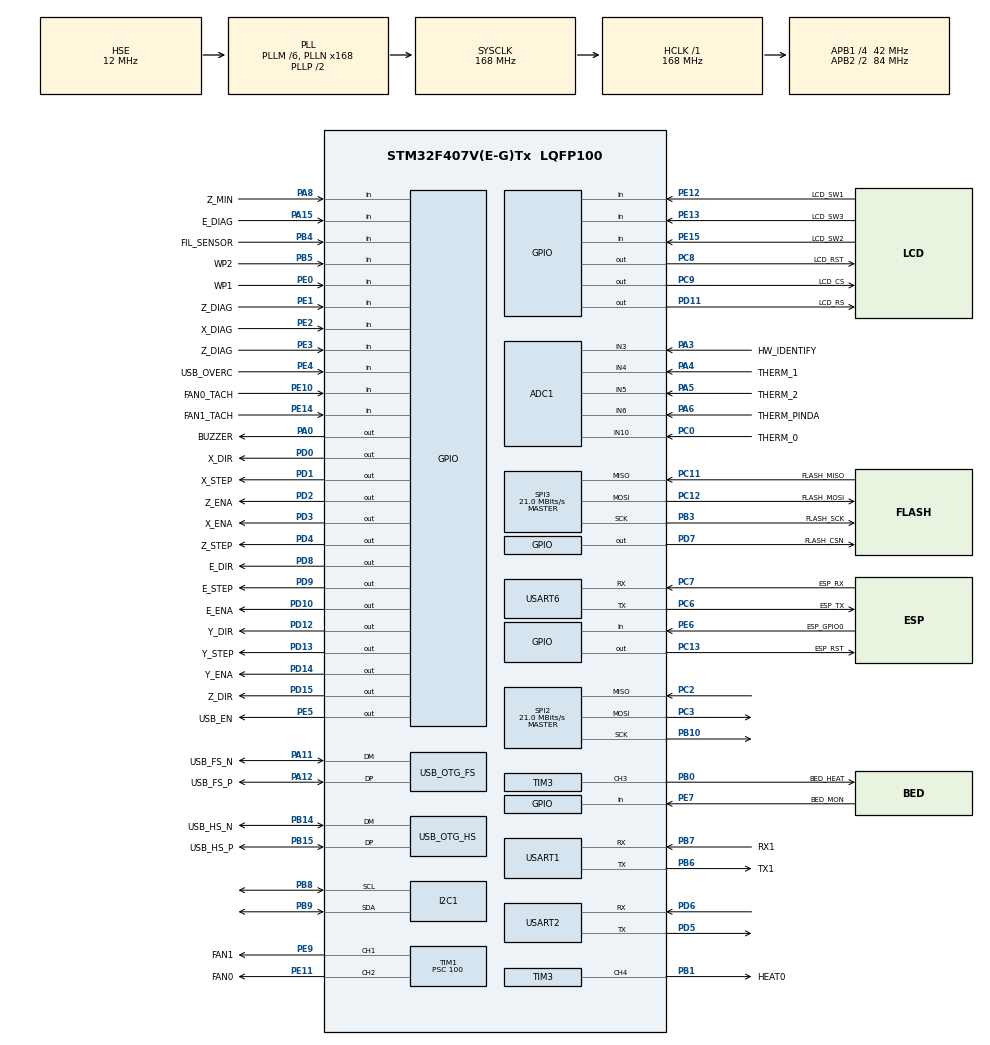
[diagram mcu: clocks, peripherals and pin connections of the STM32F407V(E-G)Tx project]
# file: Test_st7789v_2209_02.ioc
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ADC1.Channel-0\#ChannelRegularConversion=ADC_CHANNEL_4
ADC1.NbrOfConversionFlag=1
ADC1.Rank-0\#ChannelRegularConversion=1
ADC1.SamplingTime-0\#ChannelRegularConversion=ADC_SAMPLETIME_3CYCLES
ADC1.master=1
Dma.Request0=SPI2_TX
Dma.Request1=USART2_RX
Dma.SPI2_TX.0.Direction=DMA_MEMORY_TO_PERIPH
Dma.SPI2_TX.0.FIFOMode=DMA_FIFOMODE_DISABLE
Dma.SPI2_TX.0.Instance=DMA1_Stream4
Dma.SPI2_TX.0.MemDataAlignment=DMA_MDATAALIGN_BYTE
Dma.SPI2_TX.0.MemInc=DMA_MINC_ENABLE
Dma.SPI2_TX.0.Mode=DMA_NORMAL
Dma.SPI2_TX.0.PeriphDataAlignment=DMA_PDATAALIGN_BYTE
Dma.SPI2_TX.0.PeriphInc=DMA_PINC_DISABLE
Dma.SPI2_TX.0.Priority=DMA_PRIORITY_MEDIUM
Dma.USART2_RX.1.Direction=DMA_PERIPH_TO_MEMORY
Dma.USART2_RX.1.FIFOMode=DMA_FIFOMODE_DISABLE
Dma.USART2_RX.1.Instance=DMA1_Stream5
Dma.USART2_RX.1.MemDataAlignment=DMA_MDATAALIGN_BYTE
Dma.USART2_RX.1.MemInc=DMA_MINC_ENABLE
Dma.USART2_RX.1.Mode=DMA_NORMAL
Dma.USART2_RX.1.PeriphDataAlignment=DMA_PDATAALIGN_BYTE
Dma.USART2_RX.1.PeriphInc=DMA_PINC_DISABLE
Dma.USART2_RX.1.Priority=DMA_PRIORITY_LOW
FREERTOS.Tasks01=defaultTask,0,1024,StartDefaultTask,Default,NULL,Dynamic,NULL,NULL;displayTask,0,1024,StartDisplayTask,Default,NULL,Dynamic,NULL,NULL;idleTask,-3,128,StartIdleTask,Default,NULL,Dynamic,NULL,NULL
FREERTOS.configTOTAL_HEAP_SIZE=81920
Mcu.Family=STM32F4
Mcu.Name=STM32F407V(E-G)Tx
Mcu.Package=LQFP100
NVIC.DMA1_Stream4_IRQn=true\:5\:0\:false\:false\:true\:true\:false
NVIC.DMA1_Stream5_IRQn=true\:5\:0\:false\:false\:true\:true\:false
NVIC.OTG_FS_IRQn=true\:5\:0\:false\:false\:true\:true\:false
NVIC.OTG_HS_IRQn=true\:5\:0\:false\:false\:true\:true\:false
NVIC.PriorityGroup=NVIC_PRIORITYGROUP_4
NVIC.TIM6_DAC_IRQn=true\:0\:0\:false\:false\:true\:false\:false
NVIC.TimeBase=TIM6_DAC_IRQn
NVIC.TimeBaseIP=TIM6
PA0-WKUP.GPIO_Label=BUZZER
PA0-WKUP.Signal=GPIO_Output
PA11.GPIO_Label=USB_FS_N
PA11.Mode=Device_Only
PA11.Signal=USB_OTG_FS_DM
PA12.GPIO_Label=USB_FS_P
PA12.Mode=Device_Only
PA12.Signal=USB_OTG_FS_DP
PA13.GPIO_Label=SWDIO
PA13.Mode=Serial_Wire
PA13.Signal=SYS_JTMS-SWDIO
PA14.GPIO_Label=SWCLK
PA14.Mode=Serial_Wire
PA14.Signal=SYS_JTCK-SWCLK
PA15.GPIO_Label=E_DIAG
PA15.Signal=GPIO_Input
PA3.GPIO_Label=HW_IDENTIFY
PA3.Signal=ADCx_IN3
PA4.GPIO_Label=THERM_1
PA4.Signal=ADCx_IN4
PA5.GPIO_Label=THERM_2
PA5.Signal=ADCx_IN5
PA6.GPIO_Label=THERM_PINDA
PA6.Signal=ADCx_IN6
PA8.GPIO_Label=Z_MIN
PA8.GPIO_PuPd=GPIO_PULLUP
PA8.Signal=GPIO_Input
PB0.GPIO_Label=BED_HEAT
PB0.Signal=S_TIM3_CH3
PB1.GPIO_Label=HEAT0
PB1.Signal=S_TIM3_CH4
PB10.Mode=Full_Duplex_Master
PB10.Signal=SPI2_SCK
PB14.GPIO_Label=USB_HS_N
PB14.Mode=Host_FS
PB14.Signal=USB_OTG_HS_DM
PB15.GPIO_Label=USB_HS_P
PB15.Mode=Host_FS
PB15.Signal=USB_OTG_HS_DP
PB3.GPIO_Label=FLASH_SCK
PB3.Mode=Full_Duplex_Master
PB3.Signal=SPI3_SCK
PB4.GPIO_Label=FIL_SENSOR
PB4.Signal=GPIO_Input
PB5.GPIO_Label=WP2
PB5.Signal=GPIO_Input
PB6.GPIO_Label=TX1
PB6.Mode=Asynchronous
PB6.Signal=USART1_TX
PB7.GPIO_Label=RX1
PB7.Mode=Asynchronous
PB7.Signal=USART1_RX
PB8.Mode=I2C
PB8.Signal=I2C1_SCL
PB9.Mode=I2C
PB9.Signal=I2C1_SDA
PC0.GPIO_Label=THERM_0
PC0.Signal=ADCx_IN10
PC11.GPIO_Label=FLASH_MISO
PC11.Mode=Full_Duplex_Master
PC11.Signal=SPI3_MISO
PC12.GPIO_Label=FLASH_MOSI
PC12.Mode=Full_Duplex_Master
PC12.Signal=SPI3_MOSI
PC13-ANTI_TAMP.GPIO_Label=ESP_RST
PC13-ANTI_TAMP.Signal=GPIO_Output
PC14-OSC32_IN.Mode=LSE-External-Oscillator
PC14-OSC32_IN.Signal=RCC_OSC32_IN
PC15-OSC32_OUT.Mode=LSE-External-Oscillator
PC15-OSC32_OUT.Signal=RCC_OSC32_OUT
PC2.Mode=Full_Duplex_Master
PC2.Signal=SPI2_MISO
PC3.Mode=Full_Duplex_Master
PC3.Signal=SPI2_MOSI
PC6.GPIO_Label=ESP_TX
PC6.Mode=Asynchronous
PC6.Signal=USART6_TX
PC7.GPIO_Label=ESP_RX
PC7.Mode=Asynchronous
PC7.Signal=USART6_RX
PC8.GPIO_Label=LCD_RST
PC8.Signal=GPIO_Output
PC9.GPIO_Label=LCD_CS
PC9.Signal=GPIO_Output
PD0.GPIO_Label=X_DIR
PD0.Signal=GPIO_Output
PD1.GPIO_Label=X_STEP
PD1.Signal=GPIO_Output
PD10.GPIO_Label=E_ENA
PD10.Signal=GPIO_Output
PD11.GPIO_Label=LCD_RS
PD11.Signal=GPIO_Output
PD12.GPIO_Label=Y_DIR
PD12.Signal=GPIO_Output
PD13.GPIO_Label=Y_STEP
PD13.Signal=GPIO_Output
PD14.GPIO_Label=Y_ENA
PD14.Signal=GPIO_Output
PD15.GPIO_Label=Z_DIR
PD15.Signal=GPIO_Output
PD2.GPIO_Label=Z_ENA
PD2.Signal=GPIO_Output
PD3.GPIO_Label=X_ENA
PD3.Signal=GPIO_Output
PD4.GPIO_Label=Z_STEP
PD4.Signal=GPIO_Output
PD5.Mode=Asynchronous
PD5.Signal=USART2_TX
PD6.Mode=Asynchronous
PD6.Signal=USART2_RX
PD7.GPIO_Label=FLASH_CSN
PD7.Signal=GPIO_Output
PD8.GPIO_Label=E_DIR
PD8.Signal=GPIO_Output
PD9.GPIO_Label=E_STEP
PD9.Signal=GPIO_Output
PE0.GPIO_Label=WP1
PE0.Signal=GPIO_Input
PE1.GPIO_Label=Z_DIAG
PE1.Signal=GPIO_Input
PE10.GPIO_Label=FAN0_TACH
PE10.GPIO_PuPd=GPIO_PULLUP
PE10.Signal=GPIO_Input
PE11.GPIO_Label=FAN0
PE11.Signal=S_TIM1_CH2
PE12.GPIO_Label=LCD_SW1
PE12.GPIO_PuPd=GPIO_PULLUP
PE12.Signal=GPIO_Input
PE13.GPIO_Label=LCD_SW3
PE13.GPIO_PuPd=GPIO_PULLUP
PE13.Signal=GPIO_Input
PE14.GPIO_Label=FAN1_TACH
PE14.GPIO_PuPd=GPIO_PULLUP
PE14.Signal=GPIO_Input
PE15.GPIO_Label=LCD_SW2
PE15.GPIO_PuPd=GPIO_PULLUP
PE15.Signal=GPIO_Input
PE2.GPIO_Label=X_DIAG
PE2.Signal=GPIO_Input
PE3.GPIO_Label=Z_DIAG
PE3.Signal=GPIO_Input
PE4.GPIO_Label=USB_OVERC
PE4.Signal=GPIO_Input
PE5.GPIO_Label=USB_EN
PE5.PinState=GPIO_PIN_RESET
PE5.Signal=GPIO_Output
PE6.GPIO_Label=ESP_GPIO0
PE6.Signal=GPIO_Input
PE7.GPIO_Label=BED_MON
PE7.Signal=GPIO_Input
PE9.GPIO_Label=FAN1
PE9.Signal=S_TIM1_CH1
PH0-OSC_IN.Mode=HSE-External-Oscillator
PH0-OSC_IN.Signal=RCC_OSC_IN
PH1-OSC_OUT.Mode=HSE-External-Oscillator
PH1-OSC_OUT.Signal=RCC_OSC_OUT
ProjectManager.HeapSize=0x800
ProjectManager.StackSize=0x800
ProjectManager.TargetToolchain=TrueSTUDIO
RCC.48MHZClocksFreq_Value=48000000
RCC.AHBFreq_Value=168000000
RCC.APB1CLKDivider=RCC_HCLK_DIV4
RCC.APB1Freq_Value=42000000
RCC.APB1TimFreq_Value=84000000
RCC.APB2CLKDivider=RCC_HCLK_DIV2
RCC.APB2Freq_Value=84000000
RCC.APB2TimFreq_Value=168000000
RCC.CortexFreq_Value=168000000
RCC.HCLKFreq_Value=168000000
RCC.HSE_VALUE=12000000
RCC.HSI_VALUE=16000000
RCC.PLLM=6
RCC.PLLN=168
RCC.PLLQ=7
RCC.SYSCLKFreq_VALUE=168000000
RCC.SYSCLKSource=RCC_SYSCLKSOURCE_PLLCLK
RCC.VCOOutputFreq_Value=336000000
SH.ADCx_IN10.0=ADC1_IN10,IN10
SH.ADCx_IN3.0=ADC1_IN3,IN3
SH.ADCx_IN4.0=ADC1_IN4,IN4
SH.ADCx_IN5.0=ADC1_IN5,IN5
SH.ADCx_IN6.0=ADC1_IN6,IN6
SH.S_TIM1_CH1.0=TIM1_CH1,PWM Generation1 CH1
SH.S_TIM1_CH2.0=TIM1_CH2,PWM Generation2 CH2
SH.S_TIM3_CH3.0=TIM3_CH3,PWM Generation3 CH3
SH.S_TIM3_CH4.0=TIM3_CH4,PWM Generation4 CH4
SPI2.CalculateBaudRate=21.0 MBits/s
SPI2.Direction=SPI_DIRECTION_2LINES
SPI2.Mode=SPI_MODE_MASTER
SPI2.VirtualType=VM_MASTER
SPI3.CalculateBaudRate=21.0 MBits/s
SPI3.Direction=SPI_DIRECTION_2LINES
SPI3.Mode=SPI_MODE_MASTER
SPI3.VirtualType=VM_MASTER
TIM1.Channel-PWM\ Generation1\ CH1=TIM_CHANNEL_1
TIM1.Channel-PWM\ Generation2\ CH2=TIM_CHANNEL_2
TIM1.CounterMode=TIM_COUNTERMODE_DOWN
TIM1.Period=42000
TIM1.Prescaler=100
TIM1.Pulse-PWM\ Generation1\ CH1=0
TIM1.Pulse-PWM\ Generation2\ CH2=0
TIM3.Channel-PWM\ Generation3\ CH3=TIM_CHANNEL_3
TIM3.Channel-PWM\ Generation4\ CH4=TIM_CHANNEL_4
TIM3.CounterMode=TIM_COUNTERMODE_DOWN
TIM3.Period=42000
TIM3.Prescaler=100
TIM3.Pulse-PWM\ Generation3\ CH3=21000
TIM3.Pulse-PWM\ Generation4\ CH4=21000
USART1.VirtualMode=VM_ASYNC
USART2.VirtualMode=VM_ASYNC
USART6.VirtualMode=VM_ASYNC
USB_DEVICE.CLASS_NAME_FS=CDC
USB_DEVICE.VirtualMode-CDC_FS=Cdc
USB_DEVICE.VirtualModeFS=Cdc_FS
USB_HOST.USBH_HandleTypeDef-MSC_HS=hUsbHostHS
USB_HOST.VirtualModeHS=Msc
USB_OTG_FS.VirtualMode=Device_Only
USB_OTG_HS.VirtualMode-Host_FS=Host_FS
VP_FATFS_VS_USB.Mode=USB
VP_FREERTOS_VS_ENABLE.Mode=Enabled
VP_IWDG_VS_IWDG.Mode=IWDG_Activate
VP_SYS_VS_tim6.Mode=TIM6
VP_TIM1_VS_ClockSourceINT.Mode=Internal
VP_TIM3_VS_ClockSourceINT.Mode=Internal
VP_USB_DEVICE_VS_USB_DEVICE_CDC_FS.Mode=CDC_FS
VP_USB_HOST_VS_USB_HOST_MSC_HS.Mode=MSC_HS
board=custom

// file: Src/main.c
/* USER CODE BEGIN Header */
/**
  ******************************************************************************
  * @file           : main.c
  * @brief          : Main program body
  ******************************************************************************
  ** This notice applies to any and all portions of this file
  * that are not between comment pairs USER CODE BEGIN and
  * USER CODE END. Other portions of this file, whether
  * inserted by the user or by software development tools
  * are owned by their respective copyright owners.
  *
  * COPYRIGHT(c) 2019 STMicroelectronics
  *
  * Redistribution and use in source and binary forms, with or without modification,
  * are permitted provided that the following conditions are met:
  *   1. Redistributions of source code must retain the above copyright notice,
  *      this list of conditions and the following disclaimer.
  *   2. Redistributions in binary form must reproduce the above copyright notice,
  *      this list of conditions and the following disclaimer in the documentation
  *      and/or other materials provided with the distribution.
  *   3. Neither the name of STMicroelectronics nor the names of its contributors
  *      may be used to endorse or promote products derived from this software
  *      without specific prior written permission.
  *
  * THIS SOFTWARE IS PROVIDED BY THE COPYRIGHT HOLDERS AND CONTRIBUTORS "AS IS"
  * AND ANY EXPRESS OR IMPLIED WARRANTIES, INCLUDING, BUT NOT LIMITED TO, THE
  * IMPLIED WARRANTIES OF MERCHANTABILITY AND FITNESS FOR A PARTICULAR PURPOSE ARE
  * DISCLAIMED. IN NO EVENT SHALL THE COPYRIGHT HOLDER OR CONTRIBUTORS BE LIABLE
  * FOR ANY DIRECT, INDIRECT, INCIDENTAL, SPECIAL, EXEMPLARY, OR CONSEQUENTIAL
  * DAMAGES (INCLUDING, BUT NOT LIMITED TO, PROCUREMENT OF SUBSTITUTE GOODS OR
  * SERVICES; LOSS OF USE, DATA, OR PROFITS; OR BUSINESS INTERRUPTION) HOWEVER
  * CAUSED AND ON ANY THEORY OF LIABILITY, WHETHER IN CONTRACT, STRICT LIABILITY,
  * OR TORT (INCLUDING NEGLIGENCE OR OTHERWISE) ARISING IN ANY WAY OUT OF THE USE
  * OF THIS SOFTWARE, EVEN IF ADVISED OF THE POSSIBILITY OF SUCH DAMAGE.
  *
  ******************************************************************************
  */
/* USER CODE END Header */

#include "main.h"
#include "cmsis_os.h"
#include "fatfs.h"
#include "usb_device.h"
#include "usb_host.h"

/* USER CODE BEGIN Includes */
#include "jogwheel.h"
/* USER CODE END Includes */

ADC_HandleTypeDef hadc1;

I2C_HandleTypeDef hi2c1;

IWDG_HandleTypeDef hiwdg;

SPI_HandleTypeDef hspi2;
SPI_HandleTypeDef hspi3;
DMA_HandleTypeDef hdma_spi2_tx;

TIM_HandleTypeDef htim1;
TIM_HandleTypeDef htim3;

UART_HandleTypeDef huart1;
UART_HandleTypeDef huart2;
UART_HandleTypeDef huart6;
DMA_HandleTypeDef hdma_usart2_rx;

osThreadId defaultTaskHandle;
osThreadId displayTaskHandle;
osThreadId idleTaskHandle;
/* USER CODE BEGIN PV */
int HAL_GPIO_Initialized = 0;
int HAL_ADC_Initialized = 0;
int HAL_PWM_Initialized = 0;
int HAL_SPI_Initialized = 0;
/* USER CODE END PV */

void SystemClock_Config(void);
static void MX_GPIO_Init(void);
static void MX_DMA_Init(void);
static void MX_I2C1_Init(void);
static void MX_IWDG_Init(void);
static void MX_ADC1_Init(void);
static void MX_USART1_UART_Init(void);
static void MX_TIM1_Init(void);
static void MX_TIM3_Init(void);
static void MX_SPI2_Init(void);
static void MX_USART2_UART_Init(void);
static void MX_USART6_UART_Init(void);
static void MX_SPI3_Init(void);
void StartDefaultTask(void const* argument);
void StartDisplayTask(void const* argument);
void StartIdleTask(void const* argument);

/* USER CODE BEGIN PFP */

extern void app_run(void);
extern void app_error(void);
extern void app_assert(uint8_t* file, uint32_t line);

extern void gui_run(void);

extern void Error_Handler(void);

/* USER CODE END PFP */

int main(void)
{

    /* MCU Configuration--------------------------------------------------------*/

    /* Reset of all peripherals, Initializes the Flash interface and the Systick. */
    HAL_Init();

    /* Configure the system clock */
    SystemClock_Config();

    /* Initialize all configured peripherals */
    MX_GPIO_Init();
    MX_DMA_Init();
    MX_I2C1_Init();
    MX_IWDG_Init();
    MX_ADC1_Init();
    MX_USART1_UART_Init();
    MX_TIM1_Init();
    MX_TIM3_Init();
    MX_SPI2_Init();
    MX_USART2_UART_Init();
    MX_USART6_UART_Init();
    MX_SPI3_Init();
    /* USER CODE BEGIN 2 */
    HAL_GPIO_Initialized = 1;
    HAL_ADC_Initialized = 1;
    HAL_PWM_Initialized = 1;
    HAL_SPI_Initialized = 1;
    /* USER CODE END 2 */

    /* Create the thread(s) */
    /* definition and creation of defaultTask */
    osThreadDef(defaultTask, StartDefaultTask, osPriorityNormal, 0, 1024);
    defaultTaskHandle = osThreadCreate(osThread(defaultTask), NULL);

    /* definition and creation of displayTask */
    osThreadDef(displayTask, StartDisplayTask, osPriorityNormal, 0, 1024);
    displayTaskHandle = osThreadCreate(osThread(displayTask), NULL);

    /* definition and creation of idleTask */
    osThreadDef(idleTask, StartIdleTask, osPriorityIdle, 0, 128);
    idleTaskHandle = osThreadCreate(osThread(idleTask), NULL);

    /* Start scheduler */
    osKernelStart();

    /* We should never get here as control is now taken by the scheduler */

    /* Infinite loop */
    while (1) {

    }
}

void SystemClock_Config(void)
{
    RCC_OscInitTypeDef RCC_OscInitStruct = { 0 };
    RCC_ClkInitTypeDef RCC_ClkInitStruct = { 0 };

    /**Configure the main internal regulator output voltage
  */
    __HAL_RCC_PWR_CLK_ENABLE();
    __HAL_PWR_VOLTAGESCALING_CONFIG(PWR_REGULATOR_VOLTAGE_SCALE1);
    /**Initializes the CPU, AHB and APB busses clocks
  */
    RCC_OscInitStruct.OscillatorType = RCC_OSCILLATORTYPE_LSI | RCC_OSCILLATORTYPE_HSE;
    RCC_OscInitStruct.HSEState = RCC_HSE_ON;
    RCC_OscInitStruct.LSIState = RCC_LSI_ON;
    RCC_OscInitStruct.PLL.PLLState = RCC_PLL_ON;
    RCC_OscInitStruct.PLL.PLLSource = RCC_PLLSOURCE_HSE;
    RCC_OscInitStruct.PLL.PLLM = 6;
    RCC_OscInitStruct.PLL.PLLN = 168;
    RCC_OscInitStruct.PLL.PLLP = RCC_PLLP_DIV2;
    RCC_OscInitStruct.PLL.PLLQ = 7;
    if (HAL_RCC_OscConfig(&RCC_OscInitStruct) != HAL_OK) {
        Error_Handler();
    }
    /**Initializes the CPU, AHB and APB busses clocks
  */
    RCC_ClkInitStruct.ClockType = RCC_CLOCKTYPE_HCLK | RCC_CLOCKTYPE_SYSCLK
        | RCC_CLOCKTYPE_PCLK1 | RCC_CLOCKTYPE_PCLK2;
    RCC_ClkInitStruct.SYSCLKSource = RCC_SYSCLKSOURCE_PLLCLK;
    RCC_ClkInitStruct.AHBCLKDivider = RCC_SYSCLK_DIV1;
    RCC_ClkInitStruct.APB1CLKDivider = RCC_HCLK_DIV4;
    RCC_ClkInitStruct.APB2CLKDivider = RCC_HCLK_DIV2;

    if (HAL_RCC_ClockConfig(&RCC_ClkInitStruct, FLASH_LATENCY_5) != HAL_OK) {
        Error_Handler();
    }
}

static void MX_ADC1_Init(void)
{

    ADC_ChannelConfTypeDef sConfig = { 0 };

    /**Configure the global features of the ADC (Clock, Resolution, Data Alignment and number of conversion)
  */
    hadc1.Instance = ADC1;
    hadc1.Init.ClockPrescaler = ADC_CLOCK_SYNC_PCLK_DIV4;
    hadc1.Init.Resolution = ADC_RESOLUTION_12B;
    hadc1.Init.ScanConvMode = DISABLE;
    hadc1.Init.ContinuousConvMode = DISABLE;
    hadc1.Init.DiscontinuousConvMode = DISABLE;
    hadc1.Init.ExternalTrigConvEdge = ADC_EXTERNALTRIGCONVEDGE_NONE;
    hadc1.Init.ExternalTrigConv = ADC_SOFTWARE_START;
    hadc1.Init.DataAlign = ADC_DATAALIGN_RIGHT;
    hadc1.Init.NbrOfConversion = 1;
    hadc1.Init.DMAContinuousRequests = DISABLE;
    hadc1.Init.EOCSelection = ADC_EOC_SINGLE_CONV;
    if (HAL_ADC_Init(&hadc1) != HAL_OK) {
        Error_Handler();
    }
    /**Configure for the selected ADC regular channel its corresponding rank in the sequencer and its sample time.
  */
    sConfig.Channel = ADC_CHANNEL_4;
    sConfig.Rank = 1;
    sConfig.SamplingTime = ADC_SAMPLETIME_3CYCLES;
    if (HAL_ADC_ConfigChannel(&hadc1, &sConfig) != HAL_OK) {
        Error_Handler();
    }
}

static void MX_I2C1_Init(void)
{

    hi2c1.Instance = I2C1;
    hi2c1.Init.ClockSpeed = 100000;
    hi2c1.Init.DutyCycle = I2C_DUTYCYCLE_2;
    hi2c1.Init.OwnAddress1 = 0;
    hi2c1.Init.AddressingMode = I2C_ADDRESSINGMODE_7BIT;
    hi2c1.Init.DualAddressMode = I2C_DUALADDRESS_DISABLE;
    hi2c1.Init.OwnAddress2 = 0;
    hi2c1.Init.GeneralCallMode = I2C_GENERALCALL_DISABLE;
    hi2c1.Init.NoStretchMode = I2C_NOSTRETCH_DISABLE;
    if (HAL_I2C_Init(&hi2c1) != HAL_OK) {
        Error_Handler();
    }
}

static void MX_IWDG_Init(void)
{

    /* USER CODE BEGIN IWDG_Init 1 */
#if 0
  /* USER CODE END IWDG_Init 1 */
  hiwdg.Instance = IWDG;
  hiwdg.Init.Prescaler = IWDG_PRESCALER_4;
  hiwdg.Init.Reload = 4095;
  if (HAL_IWDG_Init(&hiwdg) != HAL_OK)
  {
    Error_Handler();
  }
  /* USER CODE BEGIN IWDG_Init 2 */
#endif
    /* USER CODE END IWDG_Init 2 */
}

static void MX_SPI2_Init(void)
{

    /* SPI2 parameter configuration*/
    hspi2.Instance = SPI2;
    hspi2.Init.Mode = SPI_MODE_MASTER;
    hspi2.Init.Direction = SPI_DIRECTION_2LINES;
    hspi2.Init.DataSize = SPI_DATASIZE_8BIT;
    hspi2.Init.CLKPolarity = SPI_POLARITY_LOW;
    hspi2.Init.CLKPhase = SPI_PHASE_1EDGE;
    hspi2.Init.NSS = SPI_NSS_SOFT;
    hspi2.Init.BaudRatePrescaler = SPI_BAUDRATEPRESCALER_2;
    hspi2.Init.FirstBit = SPI_FIRSTBIT_MSB;
    hspi2.Init.TIMode = SPI_TIMODE_DISABLE;
    hspi2.Init.CRCCalculation = SPI_CRCCALCULATION_DISABLE;
    hspi2.Init.CRCPolynomial = 10;
    if (HAL_SPI_Init(&hspi2) != HAL_OK) {
        Error_Handler();
    }
}

static void MX_SPI3_Init(void)
{

    /* SPI3 parameter configuration*/
    hspi3.Instance = SPI3;
    hspi3.Init.Mode = SPI_MODE_MASTER;
    hspi3.Init.Direction = SPI_DIRECTION_2LINES;
    hspi3.Init.DataSize = SPI_DATASIZE_8BIT;
    hspi3.Init.CLKPolarity = SPI_POLARITY_LOW;
    hspi3.Init.CLKPhase = SPI_PHASE_1EDGE;
    hspi3.Init.NSS = SPI_NSS_SOFT;
    hspi3.Init.BaudRatePrescaler = SPI_BAUDRATEPRESCALER_2;
    hspi3.Init.FirstBit = SPI_FIRSTBIT_MSB;
    hspi3.Init.TIMode = SPI_TIMODE_DISABLE;
    hspi3.Init.CRCCalculation = SPI_CRCCALCULATION_DISABLE;
    hspi3.Init.CRCPolynomial = 10;
    if (HAL_SPI_Init(&hspi3) != HAL_OK) {
        Error_Handler();
    }
}

static void MX_TIM1_Init(void)
{

    TIM_ClockConfigTypeDef sClockSourceConfig = { 0 };
    TIM_MasterConfigTypeDef sMasterConfig = { 0 };
    TIM_OC_InitTypeDef sConfigOC = { 0 };
    TIM_BreakDeadTimeConfigTypeDef sBreakDeadTimeConfig = { 0 };

    htim1.Instance = TIM1;
    htim1.Init.Prescaler = 100;
    htim1.Init.CounterMode = TIM_COUNTERMODE_DOWN;
    htim1.Init.Period = 42000;
    htim1.Init.ClockDivision = TIM_CLOCKDIVISION_DIV1;
    htim1.Init.RepetitionCounter = 0;
    if (HAL_TIM_Base_Init(&htim1) != HAL_OK) {
        Error_Handler();
    }
    sClockSourceConfig.ClockSource = TIM_CLOCKSOURCE_INTERNAL;
    if (HAL_TIM_ConfigClockSource(&htim1, &sClockSourceConfig) != HAL_OK) {
        Error_Handler();
    }
    if (HAL_TIM_PWM_Init(&htim1) != HAL_OK) {
        Error_Handler();
    }
    sMasterConfig.MasterOutputTrigger = TIM_TRGO_RESET;
    sMasterConfig.MasterSlaveMode = TIM_MASTERSLAVEMODE_DISABLE;
    if (HAL_TIMEx_MasterConfigSynchronization(&htim1, &sMasterConfig) != HAL_OK) {
        Error_Handler();
    }
    sConfigOC.OCMode = TIM_OCMODE_PWM1;
    sConfigOC.Pulse = 0;
    sConfigOC.OCPolarity = TIM_OCPOLARITY_HIGH;
    sConfigOC.OCNPolarity = TIM_OCNPOLARITY_HIGH;
    sConfigOC.OCFastMode = TIM_OCFAST_DISABLE;
    sConfigOC.OCIdleState = TIM_OCIDLESTATE_RESET;
    sConfigOC.OCNIdleState = TIM_OCNIDLESTATE_RESET;
    if (HAL_TIM_PWM_ConfigChannel(&htim1, &sConfigOC, TIM_CHANNEL_1) != HAL_OK) {
        Error_Handler();
    }
    if (HAL_TIM_PWM_ConfigChannel(&htim1, &sConfigOC, TIM_CHANNEL_2) != HAL_OK) {
        Error_Handler();
    }
    sBreakDeadTimeConfig.OffStateRunMode = TIM_OSSR_DISABLE;
    sBreakDeadTimeConfig.OffStateIDLEMode = TIM_OSSI_DISABLE;
    sBreakDeadTimeConfig.LockLevel = TIM_LOCKLEVEL_OFF;
    sBreakDeadTimeConfig.DeadTime = 0;
    sBreakDeadTimeConfig.BreakState = TIM_BREAK_DISABLE;
    sBreakDeadTimeConfig.BreakPolarity = TIM_BREAKPOLARITY_HIGH;
    sBreakDeadTimeConfig.AutomaticOutput = TIM_AUTOMATICOUTPUT_DISABLE;
    if (HAL_TIMEx_ConfigBreakDeadTime(&htim1, &sBreakDeadTimeConfig) != HAL_OK) {
        Error_Handler();
    }
    /* USER CODE BEGIN TIM1_Init 2 */
    //HAL_TIM_PWM_Start(&htim1,TIM_CHANNEL_1);
    //HAL_TIM_PWM_Start(&htim1,TIM_CHANNEL_2);
    /* USER CODE END TIM1_Init 2 */
    HAL_TIM_MspPostInit(&htim1);
}

static void MX_TIM3_Init(void)
{

    TIM_ClockConfigTypeDef sClockSourceConfig = { 0 };
    TIM_MasterConfigTypeDef sMasterConfig = { 0 };
    TIM_OC_InitTypeDef sConfigOC = { 0 };

    htim3.Instance = TIM3;
    htim3.Init.Prescaler = 100;
    htim3.Init.CounterMode = TIM_COUNTERMODE_DOWN;
    htim3.Init.Period = 42000;
    htim3.Init.ClockDivision = TIM_CLOCKDIVISION_DIV1;
    if (HAL_TIM_Base_Init(&htim3) != HAL_OK) {
        Error_Handler();
    }
    sClockSourceConfig.ClockSource = TIM_CLOCKSOURCE_INTERNAL;
    if (HAL_TIM_ConfigClockSource(&htim3, &sClockSourceConfig) != HAL_OK) {
        Error_Handler();
    }
    if (HAL_TIM_PWM_Init(&htim3) != HAL_OK) {
        Error_Handler();
    }
    sMasterConfig.MasterOutputTrigger = TIM_TRGO_RESET;
    sMasterConfig.MasterSlaveMode = TIM_MASTERSLAVEMODE_DISABLE;
    if (HAL_TIMEx_MasterConfigSynchronization(&htim3, &sMasterConfig) != HAL_OK) {
        Error_Handler();
    }
    sConfigOC.OCMode = TIM_OCMODE_PWM1;
    sConfigOC.Pulse = 21000;
    sConfigOC.OCPolarity = TIM_OCPOLARITY_HIGH;
    sConfigOC.OCFastMode = TIM_OCFAST_DISABLE;
    if (HAL_TIM_PWM_ConfigChannel(&htim3, &sConfigOC, TIM_CHANNEL_3) != HAL_OK) {
        Error_Handler();
    }
    if (HAL_TIM_PWM_ConfigChannel(&htim3, &sConfigOC, TIM_CHANNEL_4) != HAL_OK) {
        Error_Handler();
    }
    /* USER CODE BEGIN TIM3_Init 2 */
    //HAL_TIM_PWM_Start(&htim3,TIM_CHANNEL_3);
    //HAL_TIM_PWM_Start(&htim3,TIM_CHANNEL_4);
    /* USER CODE END TIM3_Init 2 */
    HAL_TIM_MspPostInit(&htim3);
}

static void MX_USART1_UART_Init(void)
{

    huart1.Instance = USART1;
    huart1.Init.BaudRate = 115200;
    huart1.Init.WordLength = UART_WORDLENGTH_8B;
    huart1.Init.StopBits = UART_STOPBITS_1;
    huart1.Init.Parity = UART_PARITY_NONE;
    huart1.Init.Mode = UART_MODE_TX_RX;
    huart1.Init.HwFlowCtl = UART_HWCONTROL_NONE;
    huart1.Init.OverSampling = UART_OVERSAMPLING_16;
    if (HAL_UART_Init(&huart1) != HAL_OK) {
        Error_Handler();
    }
}

static void MX_USART2_UART_Init(void)
{

    huart2.Instance = USART2;
    huart2.Init.BaudRate = 115200;
    huart2.Init.WordLength = UART_WORDLENGTH_8B;
    huart2.Init.StopBits = UART_STOPBITS_1;
    huart2.Init.Parity = UART_PARITY_NONE;
    huart2.Init.Mode = UART_MODE_TX_RX;
    huart2.Init.HwFlowCtl = UART_HWCONTROL_NONE;
    huart2.Init.OverSampling = UART_OVERSAMPLING_16;
    if (HAL_UART_Init(&huart2) != HAL_OK) {
        Error_Handler();
    }
}

static void MX_USART6_UART_Init(void)
{

    huart6.Instance = USART6;
    huart6.Init.BaudRate = 115200;
    huart6.Init.WordLength = UART_WORDLENGTH_8B;
    huart6.Init.StopBits = UART_STOPBITS_1;
    huart6.Init.Parity = UART_PARITY_NONE;
    huart6.Init.Mode = UART_MODE_TX_RX;
    huart6.Init.HwFlowCtl = UART_HWCONTROL_NONE;
    huart6.Init.OverSampling = UART_OVERSAMPLING_16;
    if (HAL_UART_Init(&huart6) != HAL_OK) {
        Error_Handler();
    }
}

static void MX_DMA_Init(void)
{
    /* DMA controller clock enable */
    __HAL_RCC_DMA1_CLK_ENABLE();

    /* DMA interrupt init */
    /* DMA1_Stream4_IRQn interrupt configuration */
    HAL_NVIC_SetPriority(DMA1_Stream4_IRQn, 5, 0);
    HAL_NVIC_EnableIRQ(DMA1_Stream4_IRQn);
    /* DMA1_Stream5_IRQn interrupt configuration */
    HAL_NVIC_SetPriority(DMA1_Stream5_IRQn, 5, 0);
    HAL_NVIC_EnableIRQ(DMA1_Stream5_IRQn);
}

static void MX_GPIO_Init(void)
{
    GPIO_InitTypeDef GPIO_InitStruct = { 0 };

    /* GPIO Ports Clock Enable */
    __HAL_RCC_GPIOE_CLK_ENABLE();
    __HAL_RCC_GPIOC_CLK_ENABLE();
    __HAL_RCC_GPIOH_CLK_ENABLE();
    __HAL_RCC_GPIOA_CLK_ENABLE();
    __HAL_RCC_GPIOB_CLK_ENABLE();
    __HAL_RCC_GPIOD_CLK_ENABLE();

    /*Configure GPIO pin Output Level */
    HAL_GPIO_WritePin(USB_EN_GPIO_Port, USB_EN_Pin, GPIO_PIN_RESET);

    /*Configure GPIO pin Output Level */
    HAL_GPIO_WritePin(GPIOC, ESP_RST_Pin | LCD_RST_Pin | LCD_CS_Pin, GPIO_PIN_RESET);

    /*Configure GPIO pin Output Level */
    HAL_GPIO_WritePin(BUZZER_GPIO_Port, BUZZER_Pin, GPIO_PIN_RESET);

    /*Configure GPIO pin Output Level */
    HAL_GPIO_WritePin(GPIOD, E_DIR_Pin | E_STEP_Pin | E_ENA_Pin | LCD_RS_Pin | Y_DIR_Pin | Y_STEP_Pin | Y_ENA_Pin | Z_DIR_Pin | X_DIR_Pin | X_STEP_Pin | Z_ENA_Pin | X_ENA_Pin | Z_STEP_Pin | FLASH_CSN_Pin, GPIO_PIN_RESET);

    /*Configure GPIO pins : X_DIAG_Pin Z_DIAG_Pin USB_OVERC_Pin ESP_GPIO0_Pin
                           BED_MON_Pin WP1_Pin Z_DIAGE1_Pin */
    GPIO_InitStruct.Pin = X_DIAG_Pin | Z_DIAG_Pin | USB_OVERC_Pin | ESP_GPIO0_Pin
        | BED_MON_Pin | WP1_Pin | Z_DIAGE1_Pin;
    GPIO_InitStruct.Mode = GPIO_MODE_INPUT;
    GPIO_InitStruct.Pull = GPIO_NOPULL;
    HAL_GPIO_Init(GPIOE, &GPIO_InitStruct);

    /*Configure GPIO pin : USB_EN_Pin */
    GPIO_InitStruct.Pin = USB_EN_Pin;
    GPIO_InitStruct.Mode = GPIO_MODE_OUTPUT_PP;
    GPIO_InitStruct.Pull = GPIO_NOPULL;
    GPIO_InitStruct.Speed = GPIO_SPEED_FREQ_LOW;
    HAL_GPIO_Init(USB_EN_GPIO_Port, &GPIO_InitStruct);

    /*Configure GPIO pins : ESP_RST_Pin LCD_RST_Pin LCD_CS_Pin */
    GPIO_InitStruct.Pin = ESP_RST_Pin | LCD_RST_Pin | LCD_CS_Pin;
    GPIO_InitStruct.Mode = GPIO_MODE_OUTPUT_PP;
    GPIO_InitStruct.Pull = GPIO_NOPULL;
    GPIO_InitStruct.Speed = GPIO_SPEED_FREQ_LOW;
    HAL_GPIO_Init(GPIOC, &GPIO_InitStruct);

    /*Configure GPIO pin : BUZZER_Pin */
    GPIO_InitStruct.Pin = BUZZER_Pin;
    GPIO_InitStruct.Mode = GPIO_MODE_OUTPUT_PP;
    GPIO_InitStruct.Pull = GPIO_NOPULL;
    GPIO_InitStruct.Speed = GPIO_SPEED_FREQ_LOW;
    HAL_GPIO_Init(BUZZER_GPIO_Port, &GPIO_InitStruct);

    /*Configure GPIO pins : FAN0_TACH_Pin LCD_SW1_Pin LCD_SW3_Pin FAN1_TACH_Pin
                           LCD_SW2_Pin */
    GPIO_InitStruct.Pin = FAN0_TACH_Pin | LCD_SW1_Pin | LCD_SW3_Pin | FAN1_TACH_Pin
        | LCD_SW2_Pin;
    GPIO_InitStruct.Mode = GPIO_MODE_INPUT;
    GPIO_InitStruct.Pull = GPIO_PULLUP;
    HAL_GPIO_Init(GPIOE, &GPIO_InitStruct);

    /*Configure GPIO pins : E_DIR_Pin E_STEP_Pin E_ENA_Pin LCD_RS_Pin
                           Y_DIR_Pin Y_STEP_Pin Y_ENA_Pin Z_DIR_Pin
                           X_DIR_Pin X_STEP_Pin Z_ENA_Pin X_ENA_Pin
                           Z_STEP_Pin FLASH_CSN_Pin */
    GPIO_InitStruct.Pin = E_DIR_Pin | E_STEP_Pin | E_ENA_Pin | LCD_RS_Pin
        | Y_DIR_Pin | Y_STEP_Pin | Y_ENA_Pin | Z_DIR_Pin
        | X_DIR_Pin | X_STEP_Pin | Z_ENA_Pin | X_ENA_Pin
        | Z_STEP_Pin | FLASH_CSN_Pin;
    GPIO_InitStruct.Mode = GPIO_MODE_OUTPUT_PP;
    GPIO_InitStruct.Pull = GPIO_NOPULL;
    GPIO_InitStruct.Speed = GPIO_SPEED_FREQ_LOW;
    HAL_GPIO_Init(GPIOD, &GPIO_InitStruct);

    /*Configure GPIO pin : Z_MIN_Pin */
    GPIO_InitStruct.Pin = Z_MIN_Pin;
    GPIO_InitStruct.Mode = GPIO_MODE_INPUT;
    GPIO_InitStruct.Pull = GPIO_PULLUP;
    HAL_GPIO_Init(Z_MIN_GPIO_Port, &GPIO_InitStruct);

    /*Configure GPIO pin : E_DIAG_Pin */
    GPIO_InitStruct.Pin = E_DIAG_Pin;
    GPIO_InitStruct.Mode = GPIO_MODE_INPUT;
    GPIO_InitStruct.Pull = GPIO_NOPULL;
    HAL_GPIO_Init(E_DIAG_GPIO_Port, &GPIO_InitStruct);

    /*Configure GPIO pins : FIL_SENSOR_Pin WP2_Pin */
    GPIO_InitStruct.Pin = FIL_SENSOR_Pin | WP2_Pin;
    GPIO_InitStruct.Mode = GPIO_MODE_INPUT;
    GPIO_InitStruct.Pull = GPIO_NOPULL;
    HAL_GPIO_Init(GPIOB, &GPIO_InitStruct);
}

/* USER CODE BEGIN 4 */

void HAL_SPI_TxCpltCallback(SPI_HandleTypeDef* hspi)
{
    osSignalSet(displayTaskHandle, 0x02);
    return;
}

void HAL_UART_RxCpltCallback(UART_HandleTypeDef* huart)
{
    osSignalSet(defaultTaskHandle, 0x04);
    return;
}

/* USER CODE END 4 */

void StartDefaultTask(void const* argument)
{
    /* init code for USB_DEVICE */
    MX_USB_DEVICE_Init();

    /* init code for USB_HOST */
    MX_USB_HOST_Init();

    /* init code for FATFS */
    MX_FATFS_Init();

    /* USER CODE BEGIN 5 */
    //app_run();
    /* Infinite loop */
    for (;;) {
        osDelay(1);
    }
    /* USER CODE END 5 */
}

void StartDisplayTask(void const* argument)
{
    /* USER CODE BEGIN StartDisplayTask */
    gui_run();
    /* Infinite loop */
    for (;;) {
        osDelay(1);
    }
    /* USER CODE END StartDisplayTask */
}

void StartIdleTask(void const* argument)
{
    for (;;) {
        osDelay(1);
    }
}

void HAL_TIM_PeriodElapsedCallback(TIM_HandleTypeDef* htim)
{
    if (htim->Instance == TIM6) {
        HAL_IncTick();
    }
    /* USER CODE BEGIN Callback 1 */
    if (htim->Instance == TIM6) {
        jogwheel_update_1ms();
    }
    /* USER CODE END Callback 1 */
}

void Error_Handler(void)
{
    /* USER CODE BEGIN Error_Handler_Debug */
    /* User can add his own implementation to report the HAL error return state */
    //app_error();
    /* USER CODE END Error_Handler_Debug */
}

#ifdef USE_FULL_ASSERT
/**
  * @brief  Reports the name of the source file and the source line number
  *         where the assert_param error has occurred.
  * @param  file: pointer to the source file name
  * @param  line: assert_param error line source number
  * @retval None
  */
void assert_failed(uint8_t* file, uint32_t line)
{
    /* USER CODE BEGIN 6 */
    /* User can add his own implementation to report the file name and line number,
     tex: printf("Wrong parameters value: file %s on line %d\r\n", file, line) */
    app_assert(file, line);
    /* USER CODE END 6 */
}
#endif /* USE_FULL_ASSERT */

/************************ (C) COPYRIGHT STMicroelectronics *****END OF FILE****/
